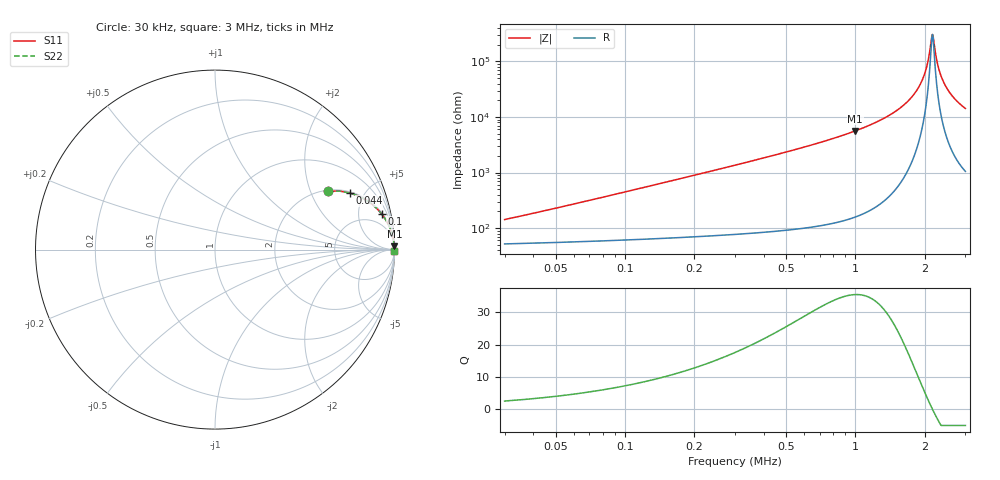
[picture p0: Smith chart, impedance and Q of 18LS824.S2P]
! Coilcraft 1812LS-824 Chip Inductor
! 8 August 2002
# MHZ S MA R 50
!Freq  MagS11  AngS11  MagS21  AngS21  MagS12  AngS12  MagS22  AngS22
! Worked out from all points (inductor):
!   426 points, 30 kHz to 3 MHz, reference 50 ohm
!   read as one part in series: L = 705 uH near 44 kHz
!   highest Q = 35.5 at 996 kHz (marker M1), where L = 895 uH
!   self-resonance near 2.158 MHz
!   S11 on the Smith chart (normalised r, x): 30 kHz: 2.04, +2.66; 44 kHz: 2.08, +3.90; 100 kHz: 2.22, +8.88; 3 MHz: open
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0.03  0.7069 27.5  0.4954 -41.2  0.4954 -41.2  0.7069 27.5
0.044  0.8141 22.8  0.4022 -51.7  0.4022 -51.7  0.8141 22.8
0.065  0.8951 17.4  0.3047 -61.4  0.3047 -61.4  0.8951 17.4
0.1  0.9489 12.1  0.2118 -70.1  0.2118 -70.1  0.9489 12.1
0.17  0.9803 7.4  0.1289 -77.5  0.1289 -77.5  0.9803 7.4
0.261  0.9911 4.8  0.08431 -81.6  0.08431 -81.6  0.9911 4.8
0.527  0.9977 2.3  0.04016 -85.5  0.04016 -85.5  0.9977 2.3
0.996  0.9993 1.0  0.01783 -87.4  0.01783 -87.4  0.9993 1.0
1.024  0.9994 1.0  0.01707 -87.4  0.01707 -87.4  0.9994 1.0
1.521  0.9997 0.4  0.007476 -87.2  0.007476 -87.2  0.9997 0.4
1.822  0.9997 0.2  0.003576 -85.0  0.003576 -85.0  0.9997 0.2
2.011  0.9997 0.1  0.001518 -78.2  0.001518 -78.2  0.9997 0.1
2.067  0.9997 0.1  0.000964 -70.9  0.000964 -70.9  0.9997 0.1
2.137  0.9997 0.0  0.0003885 -33.6  0.0003885 -33.6  0.9997 0.0
2.158  0.9997 0.0  0.0003265 -1.9  0.0003265 -1.9  0.9997 0.0
2.179  0.9997 -0.0  0.0003808 30.2  0.0003808 30.2  0.9997 -0.0
2.249  0.9997 -0.0  0.0009172 68.2  0.0009172 68.2  0.9997 -0.0
2.305  0.9996 -0.1  0.00141 75.6  0.00141 75.6  0.9996 -0.1
2.396  0.9996 -0.1  0.002208 80.3  0.002208 80.3  0.9996 -0.1
2.508  0.9996 -0.2  0.003163 82.8  0.003163 82.8  0.9996 -0.2
2.718  0.9996 -0.3  0.004868 84.6  0.004868 84.6  0.9996 -0.3
3  0.9995 -0.4  0.007008 85.4  0.007008 85.4  0.9995 -0.4
